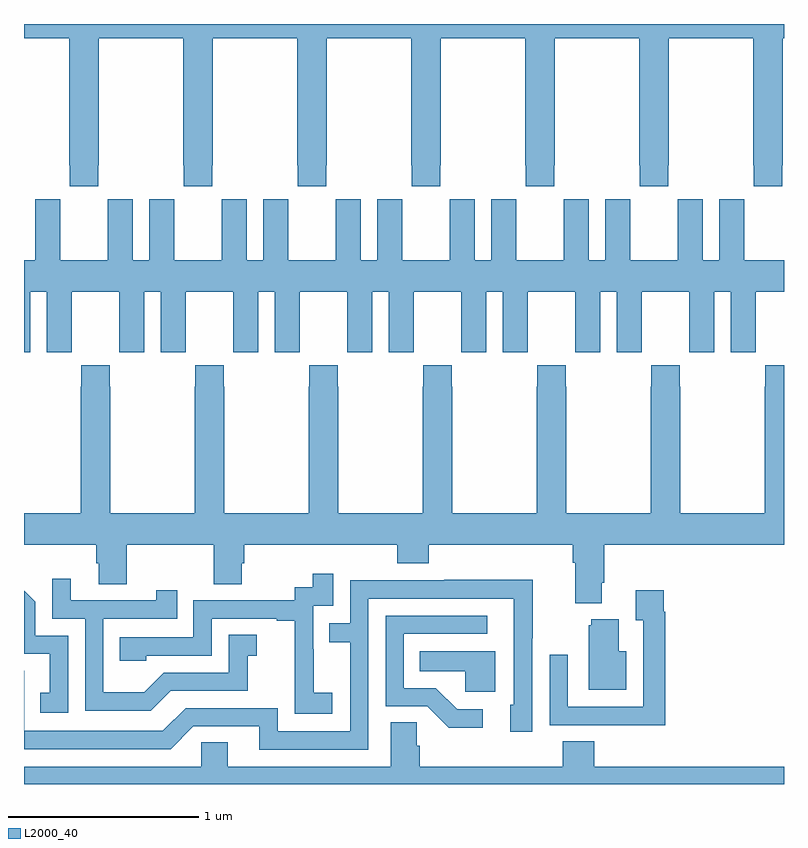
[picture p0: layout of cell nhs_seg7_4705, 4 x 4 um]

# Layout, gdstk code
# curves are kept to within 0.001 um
import gdstk
lib = gdstk.Library(unit=1e-6, precision=1e-09)
def P(c, l, *ps):  # polygons
    for p in ps: c.add(gdstk.Polygon(p, *l))
L2000_40 = (2000, 40)

nhs_seg7_4705 = lib.new_cell('nhs_seg7_4705')
P(nhs_seg7_4705, L2000_40, [(407.391,1025.257),(407.394,1025.257),(407.394,1025.924),(407.839,1025.924),(407.839,1025.257),(407.841,1025.257),(407.841,1025.145),(407.991,1025.145),(407.991,1025.257),(407.994,1025.257),(407.994,1025.924),(408.439,1025.924),(408.439,1025.257),(408.441,1025.257),(408.441,1025.145),(408.591,1025.145),(408.591,1025.257),(408.594,1025.257),(408.594,1025.924),(409.039,1025.924),(409.039,1025.257),(409.041,1025.257),(409.041,1025.145),(409.191,1025.145),(409.191,1025.257),(409.194,1025.257),(409.194,1025.924),(409.639,1025.924),(409.639,1025.257),(409.641,1025.257),(409.641,1025.145),(409.791,1025.145),(409.791,1025.257),(409.794,1025.257),(409.794,1025.924),(410.239,1025.924),(410.239,1025.257),(410.241,1025.257),(410.241,1025.145),(410.391,1025.145),(410.391,1025.257),(410.394,1025.257),(410.394,1025.924),(410.839,1025.924),(410.839,1025.257),(410.841,1025.257),(410.841,1025.145),(410.991,1025.145),(410.991,1025.257),(410.994,1025.257),(410.994,1025.924),(411,1025.924),(411,1026),(407,1026),(407,1025.924),(407.239,1025.924),(407.239,1025.257),(407.241,1025.257),(407.241,1025.145),(407.391,1025.145)],
  [(409.901,1024.384),(409.902,1024.384),(409.902,1024.272),(410.032,1024.272),(410.032,1024.592),(410.12,1024.592),(410.12,1024.272),(410.25,1024.272),(410.25,1024.384),(410.251,1024.384),(410.251,1024.592),(410.501,1024.592),(410.501,1024.384),(410.502,1024.384),(410.502,1024.272),(410.632,1024.272),(410.632,1024.592),(410.72,1024.592),(410.72,1024.272),(410.85,1024.272),(410.85,1024.384),(410.851,1024.384),(410.851,1024.592),(411,1024.592),(411,1024.756),(410.791,1024.756),(410.791,1024.964),(410.79,1024.964),(410.79,1025.077),(410.66,1025.077),(410.66,1024.756),(410.572,1024.756),(410.572,1025.077),(410.442,1025.077),(410.442,1024.964),(410.441,1024.964),(410.441,1024.756),(410.191,1024.756),(410.191,1024.964),(410.19,1024.964),(410.19,1025.077),(410.06,1025.077),(410.06,1024.756),(409.972,1024.756),(409.972,1025.077),(409.842,1025.077),(409.842,1024.964),(409.841,1024.964),(409.841,1024.756),(409.591,1024.756),(409.591,1024.964),(409.59,1024.964),(409.59,1025.077),(409.46,1025.077),(409.46,1024.756),(409.372,1024.756),(409.372,1025.077),(409.242,1025.077),(409.242,1024.964),(409.241,1024.964),(409.241,1024.756),(408.991,1024.756),(408.991,1024.964),(408.99,1024.964),(408.99,1025.077),(408.86,1025.077),(408.86,1024.756),(408.772,1024.756),(408.772,1025.077),(408.642,1025.077),(408.642,1024.964),(408.641,1024.964),(408.641,1024.756),(408.391,1024.756),(408.391,1024.964),(408.39,1024.964),(408.39,1025.077),(408.26,1025.077),(408.26,1024.756),(408.172,1024.756),(408.172,1025.077),(408.042,1025.077),(408.042,1024.964),(408.041,1024.964),(408.041,1024.756),(407.791,1024.756),(407.791,1024.964),(407.79,1024.964),(407.79,1025.077),(407.66,1025.077),(407.66,1024.756),(407.572,1024.756),(407.572,1025.077),(407.442,1025.077),(407.442,1024.964),(407.441,1024.964),(407.441,1024.756),(407.191,1024.756),(407.191,1024.964),(407.19,1024.964),(407.19,1025.077),(407.06,1025.077),(407.06,1024.756),(407,1024.756),(407,1024.272),(407.032,1024.272),(407.032,1024.592),(407.12,1024.592),(407.12,1024.272),(407.25,1024.272),(407.25,1024.384),(407.251,1024.384),(407.251,1024.592),(407.501,1024.592),(407.501,1024.384),(407.502,1024.384),(407.502,1024.272),(407.632,1024.272),(407.632,1024.592),(407.72,1024.592),(407.72,1024.272),(407.85,1024.272),(407.85,1024.384),(407.851,1024.384),(407.851,1024.592),(408.101,1024.592),(408.101,1024.384),(408.102,1024.384),(408.102,1024.272),(408.232,1024.272),(408.232,1024.592),(408.32,1024.592),(408.32,1024.272),(408.45,1024.272),(408.45,1024.384),(408.451,1024.384),(408.451,1024.592),(408.701,1024.592),(408.701,1024.384),(408.702,1024.384),(408.702,1024.272),(408.832,1024.272),(408.832,1024.592),(408.92,1024.592),(408.92,1024.272),(409.05,1024.272),(409.05,1024.384),(409.051,1024.384),(409.051,1024.592),(409.301,1024.592),(409.301,1024.384),(409.302,1024.384),(409.302,1024.272),(409.432,1024.272),(409.432,1024.592),(409.52,1024.592),(409.52,1024.272),(409.65,1024.272),(409.65,1024.384),(409.651,1024.384),(409.651,1024.592),(409.901,1024.592)],
  [(411,1024.204),(410.901,1024.204),(410.901,1024.091),(410.899,1024.091),(410.899,1023.424),(410.454,1023.424),(410.454,1024.091),(410.451,1024.091),(410.451,1024.204),(410.301,1024.204),(410.301,1024.091),(410.299,1024.091),(410.299,1023.424),(409.854,1023.424),(409.854,1024.091),(409.851,1024.091),(409.851,1024.204),(409.701,1024.204),(409.701,1024.091),(409.699,1024.091),(409.699,1023.424),(409.254,1023.424),(409.254,1024.091),(409.251,1024.091),(409.251,1024.204),(409.101,1024.204),(409.101,1024.091),(409.099,1024.091),(409.099,1023.424),(408.654,1023.424),(408.654,1024.091),(408.651,1024.091),(408.651,1024.204),(408.501,1024.204),(408.501,1024.091),(408.499,1024.091),(408.499,1023.424),(408.054,1023.424),(408.054,1024.091),(408.051,1024.091),(408.051,1024.204),(407.901,1024.204),(407.901,1024.091),(407.899,1024.091),(407.899,1023.424),(407.454,1023.424),(407.454,1024.091),(407.451,1024.091),(407.451,1024.204),(407.301,1024.204),(407.301,1024.091),(407.299,1024.091),(407.299,1023.424),(407,1023.424),(407,1023.26),(407.381,1023.26),(407.381,1023.162),(407.393,1023.162),(407.393,1023.052),(407.541,1023.052),(407.541,1023.26),(407.998,1023.26),(407.998,1023.052),(408.145,1023.052),(408.145,1023.162),(408.158,1023.162),(408.158,1023.26),(408.965,1023.26),(408.965,1023.161),(409.13,1023.161),(409.13,1023.26),(409.889,1023.26),(409.889,1023.164),(409.901,1023.164),(409.901,1022.951),(410.041,1022.951),(410.041,1023.058),(410.054,1023.058),(410.054,1023.26),(411,1023.26)],
  [(408.622,1022.479),(408.524,1022.479),(408.524,1022.708),(408.522,1022.708),(408.522,1022.937),(408.627,1022.937),(408.627,1023.106),(408.519,1023.106),(408.519,1023.036),(408.426,1023.036),(408.426,1022.967),(407.892,1022.967),(407.892,1022.772),(407.503,1022.772),(407.503,1022.649),(407.643,1022.649),(407.643,1022.676),(407.988,1022.676),(407.988,1022.871),(408.329,1022.871),(408.329,1022.859),(408.425,1022.859),(408.425,1022.575),(408.424,1022.575),(408.424,1022.369),(408.622,1022.369)],
  [(407.773,1022.49),(408.177,1022.49),(408.177,1022.675),(408.226,1022.675),(408.226,1022.785),(408.078,1022.785),(408.078,1022.586),(407.736,1022.586),(407.632,1022.482),(407.418,1022.482),(407.418,1022.871),(407.807,1022.871),(407.807,1023.019),(407.696,1023.019),(407.696,1022.967),(407.245,1022.967),(407.245,1023.079),(407.148,1023.079),(407.148,1022.871),(407.322,1022.871),(407.322,1022.385),(407.668,1022.385)],
  [(408.813,1022.976),(409.577,1022.976),(409.578,1022.418),(409.559,1022.418),(409.559,1022.274),(409.674,1022.274),(409.674,1022.767),(409.677,1022.767),(409.677,1023.074),(409.213,1023.074),(409.213,1023.072),(408.717,1023.072),(408.717,1022.847),(408.607,1022.847),(408.607,1022.746),(408.717,1022.746),(408.717,1022.277),(408.336,1022.277),(408.336,1022.4),(407.85,1022.4),(407.73,1022.28),(407.001,1022.28),(407,1022.595),(407,1022.184),(407.772,1022.184),(407.892,1022.304),(408.239,1022.304),(408.239,1022.181),(408.813,1022.181)],
  [(410.375,1022.906),(410.368,1022.906),(410.368,1023.019),(410.219,1023.019),(410.219,1022.863),(410.259,1022.863),(410.259,1022.406),(409.863,1022.406),(409.863,1022.68),(409.767,1022.68),(409.767,1022.31),(410.083,1022.31),(410.083,1022.309),(410.375,1022.309)],
  [(407.232,1022.781),(407.058,1022.781),(407.058,1022.958),(407,1023.016),(407,1022.685),(407.135,1022.685),(407.135,1022.481),(407.086,1022.481),(407.086,1022.376),(407.232,1022.376)],
  [(409.414,1022.394),(409.279,1022.394),(409.168,1022.505),(408.999,1022.505),(408.999,1022.79),(409.438,1022.79),(409.438,1022.886),(408.903,1022.886),(408.903,1022.409),(409.122,1022.409),(409.235,1022.297),(409.414,1022.297)],
  [(410.17,1022.698),(410.131,1022.698),(410.131,1022.866),(409.985,1022.866),(409.985,1022.835),(409.973,1022.835),(409.973,1022.495),(410.17,1022.495)],
  [(409.48,1022.698),(409.084,1022.698),(409.084,1022.594),(409.323,1022.594),(409.323,1022.486),(409.48,1022.486)],
  [(411,1022.092),(410,1022.092),(410,1022.225),(409.835,1022.225),(409.835,1022.092),(409.082,1022.092),(409.082,1022.201),(409.068,1022.201),(409.068,1022.324),(408.929,1022.324),(408.929,1022.092),(408.073,1022.092),(408.073,1022.219),(407.934,1022.219),(407.934,1022.092),(407,1022.092),(407,1022),(411,1022)])

lib.write_gds('nhs_seg7_4705.gds')
